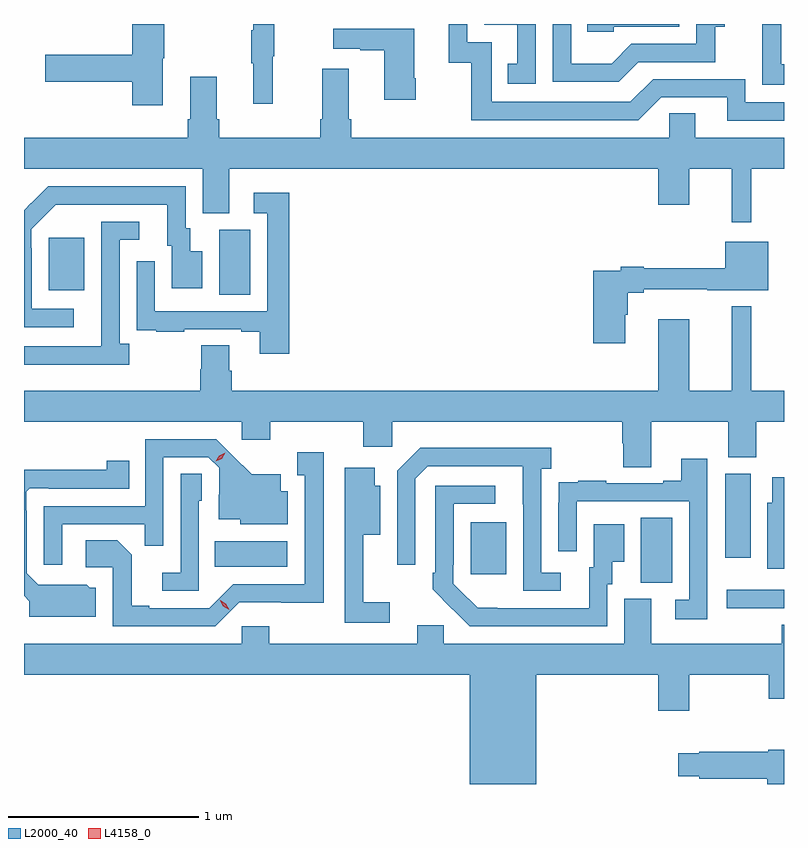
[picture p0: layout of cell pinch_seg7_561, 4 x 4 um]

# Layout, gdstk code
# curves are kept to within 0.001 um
import gdstk
lib = gdstk.Library(unit=1e-6, precision=1e-09)
def R(c, l, rs):  # rectangles x0, y0, x1, y1
    for r in rs: c.add(gdstk.rectangle(r[:2], r[2:], *l))
def P(c, l, *ps):  # polygons
    for p in ps: c.add(gdstk.Polygon(p, *l))
L2000_40 = (2000, 40)
L4158_0 = (4158, 0)

pinch_seg7_561 = lib.new_cell('pinch_seg7_561')
R(pinch_seg7_561, L2000_40, [(117.417,1054.248,117.719,1054.344), (116.966,1054.381,117.13,1054.724), (116.069,1054.425,116.257,1054.699), (114.724,1054.466,115.105,1054.6), (117.41,1054.512,117.544,1054.956), (114.746,1055.896,114.91,1056.24), (113.849,1055.921,114.037,1056.196)])
P(pinch_seg7_561, L2000_40, [(116.953,1057.122),(117.357,1057.122),(117.357,1057.307),(117.406,1057.307),(117.406,1057.322),(117.258,1057.322),(117.258,1057.218),(116.916,1057.218),(116.812,1057.114),(116.598,1057.114),(116.598,1057.322),(116.502,1057.322),(116.502,1057.017),(116.848,1057.017)],
  [(116.412,1057.322),(116.142,1057.322),(116.142,1057.317),(116.315,1057.317),(116.315,1057.113),(116.266,1057.113),(116.266,1057.008),(116.412,1057.008)],
  [(114.448,1057.143),(114.456,1057.143),(114.456,1057.322),(114.29,1057.322),(114.29,1057.16),(113.832,1057.16),(113.832,1057.018),(114.29,1057.018),(114.29,1056.894),(114.448,1056.894)],
  [(117.719,1056.909),(117.516,1056.909),(117.516,1057.032),(117.03,1057.032),(116.91,1056.912),(116.181,1056.912),(116.181,1057.227),(116.052,1057.227),(116.052,1057.322),(115.955,1057.322),(115.955,1057.119),(116.073,1057.119),(116.073,1056.816),(116.952,1056.816),(117.072,1056.936),(117.419,1056.936),(117.419,1056.813),(117.719,1056.813)],
  [(117.719,1057.111),(117.704,1057.111),(117.704,1057.322),(117.605,1057.322),(117.605,1057.207),(117.604,1057.207),(117.604,1057.001),(117.719,1057.001)],
  [(115.028,1057.152),(115.036,1057.152),(115.036,1057.322),(114.926,1057.322),(114.926,1057.289),(114.915,1057.289),(114.915,1057.115),(114.926,1057.115),(114.926,1056.903),(115.028,1056.903)],
  [(116.823,1057.308),(117.168,1057.308),(117.168,1057.322),(116.683,1057.322),(116.683,1057.281),(116.823,1057.281)],
  [(115.782,1057.036),(115.774,1057.036),(115.774,1057.297),(115.347,1057.297),(115.347,1057.193),(115.49,1057.193),(115.49,1057.183),(115.616,1057.183),(115.616,1056.924),(115.782,1056.924)],
  [(117.547,1056.56),(117.719,1056.56),(117.719,1056.724),(117.253,1056.724),(117.253,1056.851),(117.114,1056.851),(117.114,1056.724),(115.442,1056.724),(115.442,1056.82),(115.429,1056.82),(115.429,1057.087),(115.289,1057.087),(115.289,1056.82),(115.277,1056.82),(115.277,1056.724),(114.746,1056.724),(114.746,1056.82),(114.733,1056.82),(114.733,1057.045),(114.593,1057.045),(114.593,1056.82),(114.581,1056.82),(114.581,1056.724),(113.719,1056.724),(113.719,1056.56),(114.659,1056.56),(114.659,1056.325),(114.799,1056.325),(114.799,1056.56),(117.056,1056.56),(117.056,1056.372),(117.22,1056.372),(117.22,1056.56),(117.443,1056.56),(117.443,1056.279),(117.547,1056.279)],
  [(113.98,1055.823),(113.76,1055.823),(113.76,1056.143),(113.757,1056.143),(113.757,1056.243),(113.886,1056.372),(114.473,1056.372),(114.473,1056.156),(114.497,1056.156),(114.497,1055.931),(114.658,1055.931),(114.658,1056.127),(114.595,1056.127),(114.595,1056.246),(114.57,1056.246),(114.57,1056.468),(113.846,1056.468),(113.755,1056.377),(113.754,1056.378),(113.719,1056.343),(113.719,1055.727),(113.98,1055.727)],
  [(115.115,1056.433),(114.927,1056.433),(114.927,1056.327),(114.999,1056.327),(114.999,1055.811),(114.408,1055.811),(114.408,1056.073),(114.312,1056.073),(114.312,1055.818),(114.313,1055.818),(114.313,1055.709),(114.415,1055.709),(114.415,1055.703),(114.563,1055.703),(114.563,1055.715),(114.863,1055.715),(114.863,1055.703),(114.959,1055.703),(114.959,1055.586),(115.115,1055.586)],
  [(114.274,1055.638),(114.222,1055.638),(114.222,1056.186),(114.325,1056.186),(114.325,1056.282),(114.126,1056.282),(114.126,1055.825),(114.125,1055.825),(114.125,1055.625),(113.719,1055.625),(113.719,1055.528),(114.274,1055.528)],
  [(116.884,1055.793),(116.897,1055.793),(116.897,1055.908),(116.98,1055.908),(116.98,1055.927),(117.314,1055.927),(117.314,1055.921),(117.637,1055.921),(117.637,1056.175),(117.41,1056.175),(117.41,1056.037),(116.98,1056.037),(116.98,1056.044),(116.86,1056.044),(116.86,1056.024),(116.714,1056.024),(116.714,1055.643),(116.884,1055.643)],
  [(117.019,1055.228),(117.425,1055.228),(117.425,1055.041),(117.573,1055.041),(117.573,1055.228),(117.719,1055.228),(117.719,1055.392),(117.547,1055.392),(117.547,1055.836),(117.445,1055.836),(117.445,1055.729),(117.443,1055.729),(117.443,1055.392),(117.22,1055.392),(117.22,1055.767),(117.056,1055.767),(117.056,1055.392),(114.812,1055.392),(114.812,1055.498),(114.799,1055.498),(114.799,1055.63),(114.652,1055.63),(114.652,1055.505),(114.647,1055.505),(114.647,1055.392),(113.719,1055.392),(113.719,1055.228),(114.864,1055.228),(114.864,1055.133),(115.016,1055.133),(115.016,1055.228),(115.505,1055.228),(115.505,1055.097),(115.656,1055.097),(115.656,1055.228),(116.867,1055.228),(116.867,1055.115),(116.872,1055.115),(116.872,1054.99),(117.019,1054.99)],
  [(113.919,1054.689),(114.355,1054.689),(114.355,1054.576),(114.453,1054.576),(114.453,1055.043),(114.69,1055.043),(114.747,1054.986),(114.747,1054.844),(114.743,1054.844),(114.743,1054.715),(114.858,1054.715),(114.858,1054.688),(115.108,1054.688),(115.108,1054.864),(115.069,1054.864),(115.069,1054.951),(114.917,1054.951),(114.73,1055.136),(114.357,1055.136),(114.357,1054.785),(113.823,1054.785),(113.823,1054.476),(113.919,1054.476)],
  [(116.545,1054.434),(116.442,1054.434),(116.442,1054.982),(116.494,1054.982),(116.494,1055.092),(115.804,1055.092),(115.683,1054.971),(115.683,1054.476),(115.779,1054.476),(115.779,1054.929),(115.845,1054.995),(116.345,1054.995),(116.346,1054.338),(116.545,1054.338)],
  [(114.852,1054.278),(115.297,1054.277),(115.297,1055.068),(115.157,1055.068),(115.157,1054.947),(115.196,1054.947),(115.196,1054.374),(114.819,1054.374),(114.693,1054.248),(114.379,1054.248),(114.379,1054.261),(114.285,1054.261),(114.285,1054.528),(114.209,1054.604),(114.045,1054.604),(114.045,1054.464),(114.186,1054.464),(114.186,1054.152),(114.726,1054.152)],
  [(117.315,1055.035),(117.179,1055.035),(117.179,1054.918),(117.083,1054.918),(117.083,1054.905),(116.783,1054.905),(116.783,1054.918),(116.635,1054.918),(116.635,1054.911),(116.533,1054.911),(116.533,1054.802),(116.532,1054.802),(116.532,1054.548),(116.628,1054.548),(116.628,1054.809),(117.219,1054.809),(117.219,1054.293),(117.147,1054.293),(117.147,1054.188),(117.315,1054.188)],
  [(114.097,1054.356),(114.066,1054.356),(114.05,1054.372),(113.793,1054.371),(113.733,1054.431),(113.733,1054.76),(113.73,1054.76),(113.73,1054.86),(113.748,1054.878),(113.848,1054.878),(113.848,1054.875),(114.272,1054.875),(114.272,1055.023),(114.154,1055.023),(114.154,1054.976),(113.719,1054.975),(113.719,1054.312),(113.747,1054.284),(113.747,1054.202),(114.097,1054.202)],
  [(115.645,1054.279),(115.505,1054.279),(115.505,1054.634),(115.594,1054.634),(115.594,1054.891),(115.564,1054.891),(115.564,1054.987),(115.406,1054.987),(115.406,1054.738),(115.407,1054.738),(115.407,1054.17),(115.645,1054.17)],
  [(114.639,1054.812),(114.654,1054.812),(114.654,1054.955),(114.543,1054.955),(114.543,1054.435),(114.447,1054.435),(114.447,1054.338),(114.639,1054.338)],
  [(117.719,1054.936),(117.656,1054.936),(117.656,1054.803),(117.632,1054.803),(117.632,1054.454),(117.719,1054.454)],
  [(116.79,1054.374),(116.815,1054.374),(116.815,1054.493),(116.878,1054.493),(116.878,1054.69),(116.717,1054.69),(116.717,1054.464),(116.693,1054.464),(116.693,1054.248),(116.106,1054.249),(115.977,1054.377),(115.977,1054.477),(115.98,1054.477),(115.98,1054.797),(116.2,1054.797),(116.2,1054.893),(115.884,1054.893),(115.884,1054.435),(115.869,1054.435),(115.869,1054.347),(116.066,1054.152),(116.79,1054.152)],
  [(116.416,1053.896),(117.056,1053.896),(117.056,1053.708),(117.22,1053.708),(117.22,1053.896),(117.64,1053.896),(117.64,1053.772),(117.719,1053.772),(117.719,1054.159),(117.707,1054.159),(117.707,1054.06),(117.019,1054.06),(117.019,1054.296),(116.879,1054.296),(116.879,1054.06),(115.929,1054.06),(115.929,1054.158),(115.79,1054.158),(115.79,1054.06),(115.011,1054.06),(115.011,1054.153),(114.864,1054.153),(114.864,1054.06),(113.719,1054.06),(113.719,1053.896),(116.066,1053.896),(116.066,1053.322),(116.416,1053.322)],
  [(117.719,1053.502),(117.636,1053.502),(117.636,1053.492),(117.274,1053.492),(117.274,1053.484),(117.162,1053.484),(117.162,1053.362),(117.274,1053.362),(117.274,1053.35),(117.632,1053.35),(117.632,1053.322),(117.719,1053.322)])
P(pinch_seg7_561, L4158_0, [(114.798,1054.239),(114.767,1054.258),(114.75,1054.291),(114.75,1054.291),(114.75,1054.291),(114.782,1054.272),(114.798,1054.239),(114.798,1054.239)],
  [(114.729,1055.02),(114.729,1055.021),(114.746,1055.05),(114.777,1055.065),(114.777,1055.065),(114.777,1055.065),(114.76,1055.035),(114.729,1055.02)])

lib.write_gds('pinch_seg7_561.gds')
